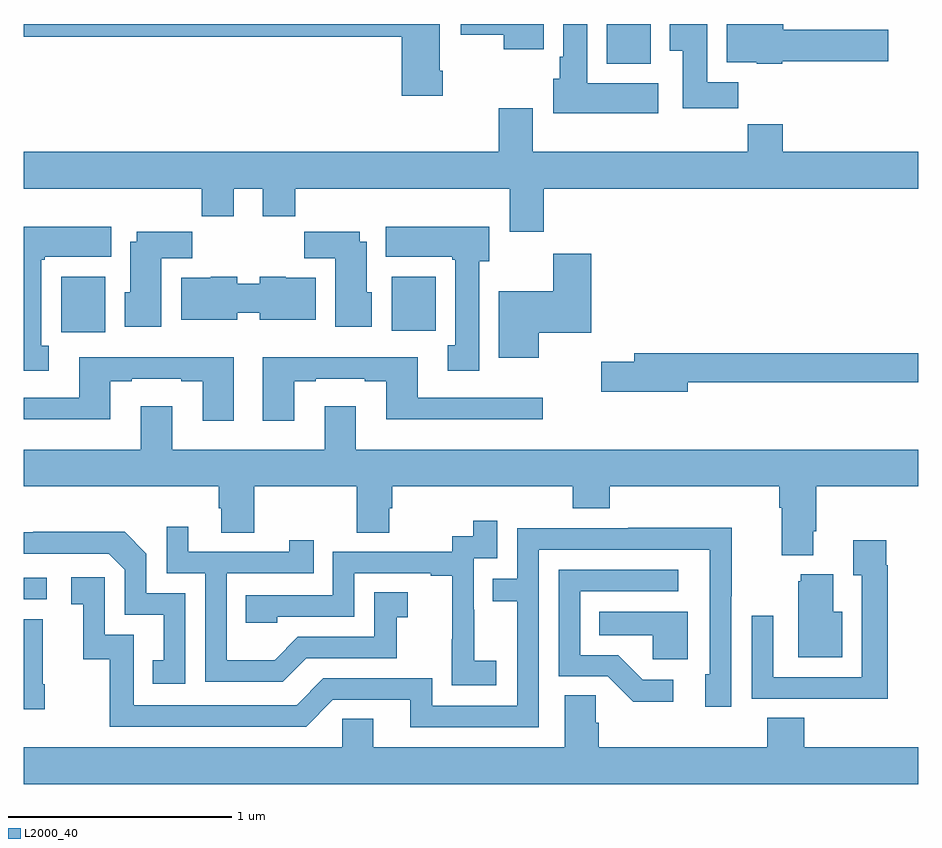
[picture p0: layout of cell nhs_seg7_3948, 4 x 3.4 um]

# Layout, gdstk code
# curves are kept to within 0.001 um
import gdstk
lib = gdstk.Library(unit=1e-6, precision=1e-09)
def R(c, l, rs):  # rectangles x0, y0, x1, y1
    for r in rs: c.add(gdstk.rectangle(r[:2], r[2:], *l))
def P(c, l, *ps):  # polygons
    for p in ps: c.add(gdstk.Polygon(p, *l))
L2000_40 = (2000, 40)

nhs_seg7_3948 = lib.new_cell('nhs_seg7_3948')
R(nhs_seg7_3948, L2000_40, [(361,1017.426,361.102,1017.522), (361.167,1018.62,361.363,1018.87), (362.645,1018.628,362.842,1018.87), (363.608,1019.822,363.805,1020)])
P(nhs_seg7_3948, L2000_40, [(363.325,1020),(362.955,1020),(362.955,1019.952),(363.146,1019.952),(363.146,1019.888),(363.325,1019.888)],
  [(364.196,1019.74),(364.057,1019.74),(364.057,1020),(363.89,1020),(363.89,1019.881),(363.947,1019.881),(363.947,1019.622),(364.196,1019.622)],
  [(364.392,1019.833),(364.867,1019.833),(364.867,1019.975),(364.396,1019.975),(364.396,1020),(364.145,1020),(364.145,1019.828),(364.278,1019.828),(364.278,1019.822),(364.392,1019.822)],
  [(363.838,1019.734),(363.52,1019.734),(363.52,1020),(363.413,1020),(363.413,1019.854),(363.398,1019.854),(363.398,1019.754),(363.368,1019.754),(363.368,1019.6),(363.838,1019.6)],
  [(362.873,1019.791),(362.86,1019.791),(362.86,1020),(361,1020),(361,1019.944),(362.69,1019.944),(362.69,1019.679),(362.873,1019.679)],
  [(363.326,1019.264),(365,1019.264),(365,1019.428),(364.394,1019.428),(364.394,1019.552),(364.237,1019.552),(364.237,1019.428),(363.277,1019.428),(363.277,1019.623),(363.125,1019.623),(363.125,1019.428),(361,1019.428),(361,1019.264),(361.795,1019.264),(361.795,1019.14),(361.939,1019.14),(361.939,1019.264),(362.069,1019.264),(362.069,1019.14),(362.213,1019.14),(362.213,1019.264),(363.173,1019.264),(363.173,1019.07),(363.326,1019.07)],
  [(363.037,1018.938),(363.082,1018.938),(363.082,1019.092),(362.618,1019.092),(362.618,1018.958),(362.917,1018.958),(362.917,1018.945),(362.93,1018.945),(362.93,1018.562),(362.897,1018.562),(362.897,1018.449),(363.037,1018.449)],
  [(361.111,1018.561),(361.078,1018.561),(361.078,1018.945),(361.092,1018.945),(361.092,1018.958),(361.39,1018.958),(361.39,1019.092),(361,1019.092),(361,1018.449),(361.111,1018.449)],
  [(362.557,1018.8),(362.533,1018.8),(362.533,1019.026),(362.503,1019.026),(362.503,1019.071),(362.254,1019.071),(362.254,1018.952),(362.393,1018.952),(362.393,1018.646),(362.557,1018.646)],
  [(361.615,1018.952),(361.754,1018.952),(361.754,1019.071),(361.505,1019.071),(361.505,1019.026),(361.475,1019.026),(361.475,1018.8),(361.451,1018.8),(361.451,1018.646),(361.615,1018.646)],
  [(363.304,1018.619),(363.539,1018.619),(363.539,1018.972),(363.368,1018.972),(363.368,1018.804),(363.125,1018.804),(363.125,1018.508),(363.304,1018.508)],
  [(361.954,1018.709),(362.054,1018.709),(362.054,1018.676),(362.305,1018.676),(362.305,1018.864),(362.172,1018.864),(362.172,1018.87),(362.054,1018.87),(362.054,1018.839),(361.954,1018.839),(361.954,1018.87),(361.836,1018.87),(361.836,1018.864),(361.703,1018.864),(361.703,1018.676),(361.954,1018.676)],
  [(363.97,1018.398),(365,1018.398),(365,1018.526),(363.731,1018.526),(363.731,1018.49),(363.582,1018.49),(363.582,1018.355),(363.97,1018.355)],
  [(361.939,1018.51),(361.247,1018.51),(361.247,1018.329),(361,1018.329),(361,1018.232),(361.387,1018.232),(361.387,1018.401),(361.483,1018.401),(361.483,1018.413),(361.703,1018.413),(361.703,1018.401),(361.799,1018.401),(361.799,1018.224),(361.939,1018.224)],
  [(362.209,1018.401),(362.305,1018.401),(362.305,1018.413),(362.525,1018.413),(362.525,1018.401),(362.621,1018.401),(362.621,1018.232),(363.322,1018.232),(363.322,1018.329),(362.761,1018.329),(362.761,1018.51),(362.069,1018.51),(362.069,1018.224),(362.209,1018.224)],
  [(364.531,1017.73),(364.544,1017.73),(364.544,1017.932),(365,1017.932),(365,1018.096),(362.485,1018.096),(362.485,1018.291),(362.345,1018.291),(362.345,1018.096),(361.663,1018.096),(361.663,1018.291),(361.523,1018.291),(361.523,1018.096),(361,1018.096),(361,1017.932),(361.871,1017.932),(361.871,1017.834),(361.883,1017.834),(361.883,1017.724),(362.031,1017.724),(362.031,1017.932),(362.488,1017.932),(362.488,1017.724),(362.635,1017.724),(362.635,1017.834),(362.648,1017.834),(362.648,1017.932),(363.455,1017.932),(363.455,1017.833),(363.62,1017.833),(363.62,1017.932),(364.379,1017.932),(364.379,1017.836),(364.391,1017.836),(364.391,1017.623),(364.531,1017.623)],
  [(363.112,1017.151),(363.014,1017.151),(363.014,1017.38),(363.012,1017.38),(363.012,1017.609),(363.117,1017.609),(363.117,1017.778),(363.009,1017.778),(363.009,1017.708),(362.916,1017.708),(362.916,1017.639),(362.382,1017.639),(362.382,1017.444),(361.993,1017.444),(361.993,1017.321),(362.133,1017.321),(362.133,1017.348),(362.478,1017.348),(362.478,1017.543),(362.819,1017.543),(362.819,1017.531),(362.915,1017.531),(362.915,1017.247),(362.914,1017.247),(362.914,1017.041),(363.112,1017.041)],
  [(362.263,1017.162),(362.667,1017.162),(362.667,1017.347),(362.716,1017.347),(362.716,1017.457),(362.568,1017.457),(362.568,1017.258),(362.226,1017.258),(362.122,1017.154),(361.908,1017.154),(361.908,1017.543),(362.297,1017.543),(362.297,1017.691),(362.186,1017.691),(362.186,1017.639),(361.735,1017.639),(361.735,1017.751),(361.638,1017.751),(361.638,1017.543),(361.812,1017.543),(361.812,1017.057),(362.158,1017.057)],
  [(363.303,1017.648),(364.067,1017.648),(364.068,1017.09),(364.049,1017.09),(364.049,1016.946),(364.164,1016.946),(364.164,1017.439),(364.167,1017.439),(364.167,1017.746),(363.703,1017.746),(363.703,1017.744),(363.207,1017.744),(363.207,1017.519),(363.097,1017.519),(363.097,1017.418),(363.207,1017.418),(363.207,1016.949),(362.826,1016.949),(362.826,1017.072),(362.34,1017.072),(362.22,1016.952),(361.491,1016.952),(361.491,1017.267),(361.362,1017.267),(361.362,1017.526),(361.212,1017.526),(361.212,1017.405),(361.265,1017.405),(361.265,1017.159),(361.383,1017.159),(361.383,1016.856),(362.262,1016.856),(362.382,1016.976),(362.729,1016.976),(362.729,1016.853),(363.303,1016.853)],
  [(361.722,1017.453),(361.548,1017.453),(361.548,1017.63),(361.45,1017.728),(361.042,1017.728),(361.042,1017.726),(361,1017.726),(361,1017.63),(361.38,1017.63),(361.452,1017.558),(361.452,1017.357),(361.625,1017.357),(361.625,1017.153),(361.576,1017.153),(361.576,1017.048),(361.722,1017.048)],
  [(364.865,1017.578),(364.858,1017.578),(364.858,1017.691),(364.709,1017.691),(364.709,1017.535),(364.749,1017.535),(364.749,1017.078),(364.353,1017.078),(364.353,1017.352),(364.257,1017.352),(364.257,1016.982),(364.573,1016.982),(364.573,1016.981),(364.865,1016.981)],
  [(363.904,1017.066),(363.769,1017.066),(363.658,1017.177),(363.489,1017.177),(363.489,1017.462),(363.928,1017.462),(363.928,1017.558),(363.393,1017.558),(363.393,1017.081),(363.612,1017.081),(363.725,1016.969),(363.904,1016.969)],
  [(364.66,1017.37),(364.621,1017.37),(364.621,1017.538),(364.475,1017.538),(364.475,1017.507),(364.463,1017.507),(364.463,1017.167),(364.66,1017.167)],
  [(363.97,1017.37),(363.574,1017.37),(363.574,1017.266),(363.813,1017.266),(363.813,1017.158),(363.97,1017.158)],
  [(361.092,1017.046),(361.084,1017.046),(361.084,1017.337),(361,1017.337),(361,1016.934),(361.092,1016.934)],
  [(365,1016.764),(364.49,1016.764),(364.49,1016.897),(364.325,1016.897),(364.325,1016.764),(363.572,1016.764),(363.572,1016.873),(363.558,1016.873),(363.558,1016.996),(363.419,1016.996),(363.419,1016.764),(362.563,1016.764),(362.563,1016.891),(362.424,1016.891),(362.424,1016.764),(361,1016.764),(361,1016.6),(365,1016.6)])

lib.write_gds('nhs_seg7_3948.gds')
